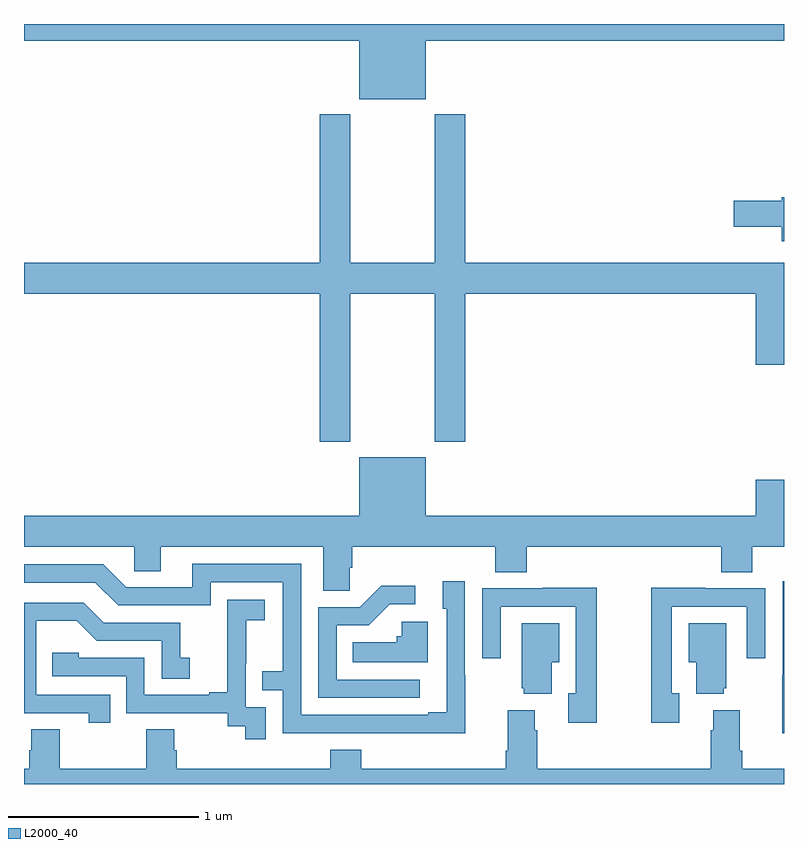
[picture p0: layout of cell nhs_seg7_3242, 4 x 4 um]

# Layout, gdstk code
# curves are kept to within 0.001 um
import gdstk
lib = gdstk.Library(unit=1e-6, precision=1e-09)
def P(c, l, *ps):  # polygons
    for p in ps: c.add(gdstk.Polygon(p, *l))
L2000_40 = (2000, 40)

nhs_seg7_3242 = lib.new_cell('nhs_seg7_3242')
P(nhs_seg7_3242, L2000_40, [(319.114,1037.912),(321,1037.912),(321,1038),(317,1038),(317,1037.912),(318.764,1037.912),(318.764,1037.603),(319.114,1037.603)],
  [(318.717,1036.58),(319.162,1036.58),(319.162,1035.801),(319.322,1035.801),(319.322,1036.58),(320.852,1036.58),(320.852,1036.206),(321,1036.206),(321,1036.744),(319.322,1036.744),(319.322,1037.524),(319.162,1037.524),(319.162,1036.744),(318.717,1036.744),(318.717,1037.524),(318.557,1037.524),(318.557,1036.744),(317,1036.744),(317,1036.58),(318.557,1036.58),(318.557,1035.801),(318.717,1035.801)],
  [(321,1037.087),(320.988,1037.087),(320.988,1037.069),(320.736,1037.069),(320.736,1036.934),(320.988,1036.934),(320.988,1036.856),(321,1036.856)],
  [(318.714,1035.139),(318.728,1035.139),(318.728,1035.248),(319.481,1035.248),(319.481,1035.115),(319.646,1035.115),(319.646,1035.248),(320.669,1035.248),(320.669,1035.115),(320.834,1035.115),(320.834,1035.248),(321,1035.248),(321,1035.601),(320.852,1035.601),(320.852,1035.412),(319.114,1035.412),(319.114,1035.721),(318.764,1035.721),(318.764,1035.412),(317,1035.412),(317,1035.248),(317.58,1035.248),(317.58,1035.121),(317.719,1035.121),(317.719,1035.248),(318.575,1035.248),(318.575,1035.016),(318.714,1035.016)],
  [(319.323,1034.573),(319.32,1034.573),(319.32,1035.067),(319.205,1035.067),(319.205,1034.922),(319.224,1034.922),(319.224,1034.377),(319.127,1034.377),(319.127,1034.364),(318.459,1034.364),(318.459,1035.159),(317.885,1035.159),(317.885,1035.036),(317.538,1035.036),(317.418,1035.156),(317,1035.156),(317,1035.06),(317.376,1035.06),(317.496,1034.94),(317.982,1034.94),(317.982,1035.063),(318.363,1035.063),(318.363,1034.594),(318.253,1034.594),(318.253,1034.493),(318.363,1034.493),(318.363,1034.268),(319.323,1034.267)],
  [(321,1035.067),(320.994,1035.067),(320.994,1034.573),(320.992,1034.573),(320.992,1034.267),(321,1034.267)],
  [(319.084,1034.55),(318.645,1034.55),(318.645,1034.835),(318.814,1034.835),(318.925,1034.946),(319.06,1034.946),(319.06,1035.044),(318.881,1035.044),(318.768,1034.931),(318.549,1034.931),(318.549,1034.454),(319.084,1034.454)],
  [(320.449,1034.478),(320.409,1034.478),(320.409,1034.934),(320.805,1034.934),(320.805,1034.661),(320.901,1034.661),(320.901,1035.03),(320.585,1035.03),(320.585,1035.032),(320.301,1035.032),(320.301,1034.322),(320.449,1034.322)],
  [(320.014,1035.032),(319.729,1035.032),(319.729,1035.03),(319.413,1035.03),(319.413,1034.661),(319.509,1034.661),(319.509,1034.934),(319.905,1034.934),(319.905,1034.478),(319.865,1034.478),(319.865,1034.322),(320.014,1034.322)],
  [(318.273,1034.403),(318.168,1034.403),(318.168,1034.632),(318.17,1034.632),(318.17,1034.861),(318.268,1034.861),(318.268,1034.971),(318.07,1034.971),(318.07,1034.765),(318.071,1034.765),(318.071,1034.482),(317.975,1034.482),(317.975,1034.469),(317.634,1034.469),(317.634,1034.664),(317.289,1034.664),(317.289,1034.691),(317.149,1034.691),(317.149,1034.568),(317.538,1034.568),(317.538,1034.373),(318.072,1034.373),(318.072,1034.305),(318.165,1034.305),(318.165,1034.235),(318.273,1034.235)],
  [(317.453,1034.469),(317.064,1034.469),(317.064,1034.858),(317.278,1034.858),(317.382,1034.754),(317.724,1034.754),(317.724,1034.555),(317.872,1034.555),(317.872,1034.665),(317.823,1034.665),(317.823,1034.85),(317.419,1034.85),(317.314,1034.955),(317,1034.955),(317,1034.373),(317.342,1034.373),(317.342,1034.322),(317.453,1034.322)],
  [(319.126,1034.854),(318.987,1034.854),(318.987,1034.778),(318.961,1034.778),(318.961,1034.746),(318.73,1034.746),(318.73,1034.642),(319.126,1034.642)],
  [(319.777,1034.642),(319.816,1034.642),(319.816,1034.845),(319.619,1034.845),(319.619,1034.505),(319.631,1034.505),(319.631,1034.474),(319.777,1034.474)],
  [(320.684,1034.505),(320.695,1034.505),(320.695,1034.845),(320.498,1034.845),(320.498,1034.642),(320.537,1034.642),(320.537,1034.474),(320.684,1034.474)],
  [(321,1034.08),(320.78,1034.08),(320.78,1034.176),(320.767,1034.176),(320.767,1034.389),(320.627,1034.389),(320.627,1034.282),(320.615,1034.282),(320.615,1034.08),(319.7,1034.08),(319.7,1034.282),(319.687,1034.282),(319.687,1034.389),(319.547,1034.389),(319.547,1034.176),(319.535,1034.176),(319.535,1034.08),(318.776,1034.08),(318.776,1034.179),(318.611,1034.179),(318.611,1034.08),(317.804,1034.08),(317.804,1034.178),(317.791,1034.178),(317.791,1034.288),(317.644,1034.288),(317.644,1034.08),(317.187,1034.08),(317.187,1034.288),(317.039,1034.288),(317.039,1034.178),(317.027,1034.178),(317.027,1034.08),(317,1034.08),(317,1034),(321,1034)])

lib.write_gds('nhs_seg7_3242.gds')
